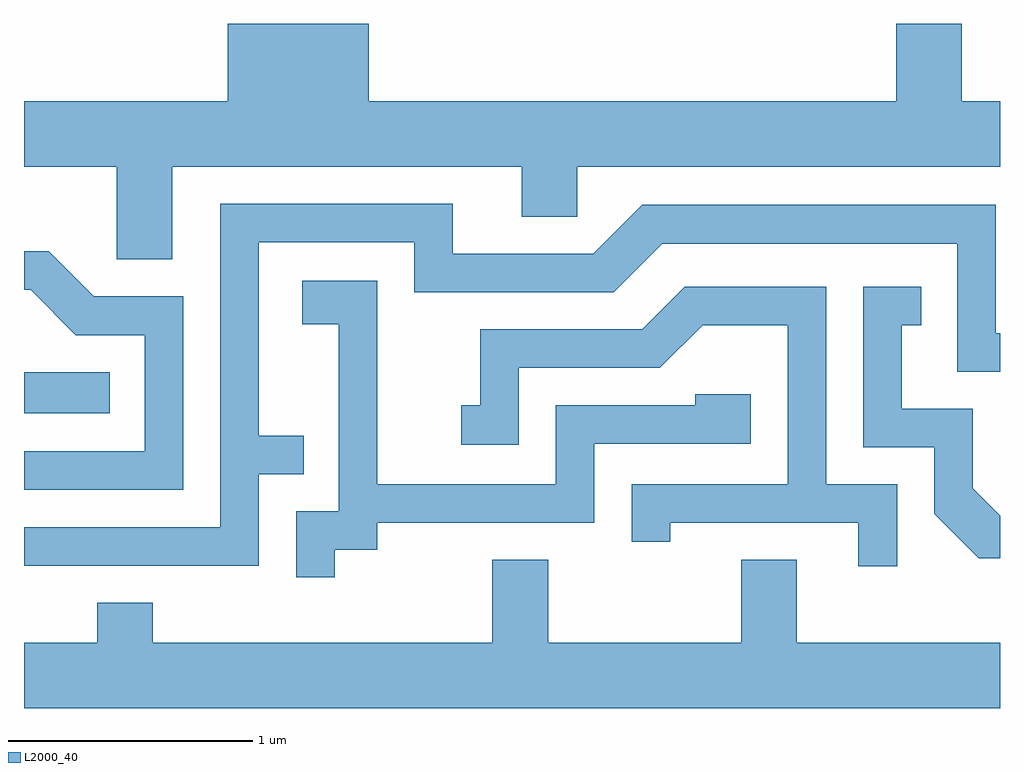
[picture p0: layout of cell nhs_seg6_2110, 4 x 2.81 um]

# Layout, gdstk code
import gdstk
lib = gdstk.Library(unit=1e-6, precision=1e-09)
def R(c, l, rs):  # rectangles x0, y0, x1, y1
    for r in rs: c.add(gdstk.rectangle(r[:2], r[2:], *l))
def P(c, l, *ps):  # polygons
    for p in ps: c.add(gdstk.Polygon(p, *l))
L2000_40 = (2000, 40)

nhs_seg6_2110 = lib.new_cell('nhs_seg6_2110')
R(nhs_seg6_2110, L2000_40, [(249.611,1564.566,249.963,1564.734)])
P(nhs_seg6_2110, L2000_40, [(250.219,1565.576),(251.651,1565.576),(251.651,1565.371),(251.879,1565.371),(251.879,1565.576),(253.611,1565.576),(253.611,1565.844),(253.454,1565.844),(253.454,1566.162),(253.186,1566.162),(253.186,1565.844),(251.024,1565.844),(251.024,1566.162),(250.446,1566.162),(250.446,1565.844),(249.611,1565.844),(249.611,1565.576),(249.991,1565.576),(249.991,1565.196),(250.219,1565.196)],
  [(250.574,1564.316),(250.758,1564.316),(250.758,1564.474),(250.574,1564.474),(250.574,1565.266),(251.211,1565.266),(251.211,1565.061),(252.027,1565.061),(252.227,1565.261),(253.436,1565.261),(253.436,1564.736),(253.611,1564.736),(253.611,1564.894),(253.594,1564.894),(253.594,1565.419),(252.144,1565.419),(251.944,1565.219),(251.369,1565.219),(251.369,1565.424),(250.416,1565.424),(250.416,1564.099),(249.611,1564.099),(249.611,1563.941),(250.574,1563.941)],
  [(250.264,1565.044),(249.897,1565.044),(249.712,1565.229),(249.611,1565.229),(249.611,1565.071),(249.639,1565.071),(249.824,1564.886),(250.106,1564.886),(250.106,1564.409),(249.611,1564.409),(249.611,1564.251),(250.264,1564.251)],
  [(250.884,1564.006),(251.059,1564.006),(251.059,1564.116),(251.949,1564.116),(251.949,1564.441),(252.589,1564.441),(252.589,1564.644),(252.361,1564.644),(252.361,1564.599),(251.791,1564.599),(251.791,1564.274),(251.059,1564.274),(251.059,1565.109),(250.751,1565.109),(250.751,1564.931),(250.901,1564.931),(250.901,1564.164),(250.726,1564.164),(250.726,1563.893),(250.884,1563.893)],
  [(253.189,1564.274),(252.899,1564.274),(252.899,1565.084),(252.319,1565.084),(252.144,1564.909),(251.481,1564.909),(251.481,1564.599),(251.403,1564.599),(251.403,1564.436),(251.639,1564.436),(251.639,1564.751),(252.217,1564.751),(252.392,1564.926),(252.741,1564.926),(252.741,1564.274),(252.101,1564.274),(252.101,1564.038),(252.259,1564.038),(252.259,1564.116),(253.031,1564.116),(253.031,1563.938),(253.189,1563.938)],
  [(253.611,1564.145),(253.499,1564.257),(253.499,1564.584),(253.209,1564.584),(253.209,1564.926),(253.288,1564.926),(253.288,1565.084),(253.051,1565.084),(253.051,1564.426),(253.341,1564.426),(253.341,1564.154),(253.524,1563.971),(253.611,1563.971)],
  [(253.611,1563.624),(252.779,1563.624),(252.779,1563.964),(252.551,1563.964),(252.551,1563.624),(251.759,1563.624),(251.759,1563.964),(251.531,1563.964),(251.531,1563.624),(250.139,1563.624),(250.139,1563.789),(249.911,1563.789),(249.911,1563.624),(249.611,1563.624),(249.611,1563.356),(253.611,1563.356)])

lib.write_gds('nhs_seg6_2110.gds')
